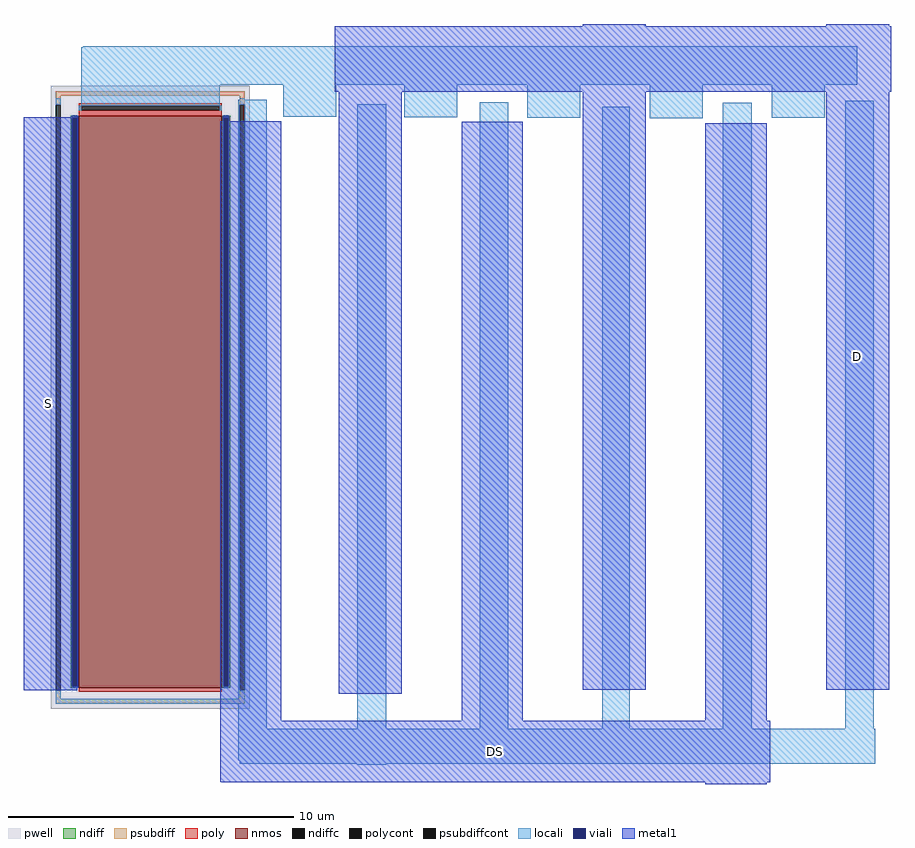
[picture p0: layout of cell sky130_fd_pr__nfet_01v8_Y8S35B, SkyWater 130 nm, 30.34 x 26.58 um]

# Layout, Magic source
magic
tech sky130A
magscale 1 2
<< pwell >>
rect -696 -2179 696 2179
<< nmos >>
rect -500 -2031 500 1969
<< ndiff >>
rect -558 1957 -500 1969
rect -558 -2019 -546 1957
rect -512 -2019 -500 1957
rect -558 -2031 -500 -2019
rect 500 1957 558 1969
rect 500 -2019 512 1957
rect 546 -2019 558 1957
rect 500 -2031 558 -2019
<< ndiffc >>
rect -546 -2019 -512 1957
rect 512 -2019 546 1957
<< psubdiff >>
rect -660 2109 660 2143
rect -660 2047 -626 2109
rect 626 2047 660 2109
rect -660 -2109 -626 -2047
rect 626 -2109 660 -2047
rect -660 -2143 660 -2109
<< psubdiffcont >>
rect -660 -2047 -626 2047
rect 626 -2047 660 2047
<< poly >>
rect -500 2041 500 2057
rect -500 2007 -484 2041
rect 484 2007 500 2041
rect -500 1969 500 2007
rect -500 -2057 500 -2031
<< polycont >>
rect -484 2007 484 2041
<< locali >>
rect -469 2451 4943 2458
rect -484 2188 4943 2451
rect -660 2047 -626 2091
rect -484 2041 484 2188
rect 626 2081 660 2091
rect 615 2047 816 2081
rect -500 2007 -484 2041
rect 484 2007 500 2041
rect -546 1957 -512 1973
rect -546 -2035 -512 -2019
rect 512 1957 546 1973
rect 512 -2035 546 -2019
rect -660 -2109 -626 -2047
rect 615 -2047 626 2047
rect 660 -2047 816 2047
rect 928 1962 1299 2188
rect 615 -2109 816 -2047
rect -660 -2143 816 -2109
rect 615 -2318 816 -2143
rect 1449 -2318 1650 2049
rect 1776 1960 2147 2188
rect 2304 -2318 2505 2065
rect 2636 1957 3007 2188
rect 3160 -2318 3355 2033
rect 3493 1954 3864 2188
rect 4005 -2318 4206 2060
rect 4345 1957 4716 2188
rect 4860 -2318 5061 2075
rect 615 -2539 5071 -2318
rect 625 -2561 5071 -2539
rect 1449 -2571 1650 -2561
<< viali >>
rect -546 -2019 -512 1957
rect 512 -2019 546 1957
<< metal1 >>
rect 3024 2598 3466 2612
rect 4728 2598 5170 2612
rect 1290 2139 5182 2598
rect -552 1959 -506 1969
rect -885 1957 -506 1959
rect -885 -2019 -546 1957
rect -512 -2019 -506 1957
rect 506 1957 552 1969
rect 506 1933 512 1957
rect -885 -2031 -506 -2019
rect 488 -2019 512 1933
rect 546 1933 552 1957
rect 546 -2019 916 1933
rect -885 -2049 -510 -2031
rect 488 -2260 916 -2019
rect 1317 -2071 1759 2139
rect 2178 -2260 2606 1928
rect 3024 -2045 3466 2139
rect 3883 -2260 4311 1917
rect 4728 -2045 5170 2139
rect 488 -2688 4337 -2260
rect 493 -2693 4337 -2688
rect 3883 -2704 4311 -2693
<< labels >>
rlabel metal1 493 -2693 4337 -2260 5 DS
rlabel metal1 4728 -2045 5170 2612 3 D
rlabel metal1 -885 -2049 -546 1959 7 S
<< properties >>
string FIXED_BBOX -643 -2126 643 2126
string gencell sky130_fd_pr__nfet_01v8
string library sky130
string parameters w 20 l 5 m 1 nf 1 diffcov 100 polycov 100 guard 1 glc 1 grc 1 gtc 0 gbc 0 tbcov 100 rlcov 100 topc 1 botc 0 poverlap 0 doverlap 1 lmin 0.15 wmin 0.42 compatible {sky130_fd_pr__nfet_01v8 sky130_fd_pr__nfet_01v8_lvt  sky130_fd_bs_flash__special_sonosfet_star  sky130_fd_pr__nfet_g5v0d10v5 sky130_fd_pr__nfet_05v0_nvt  sky130_fd_pr__nfet_03v3_nvt} full_metal 1 viasrc 100 viadrn 100 viagate 100 viagb 0 viagr 0 viagl 0 viagt 0
<< end >>
